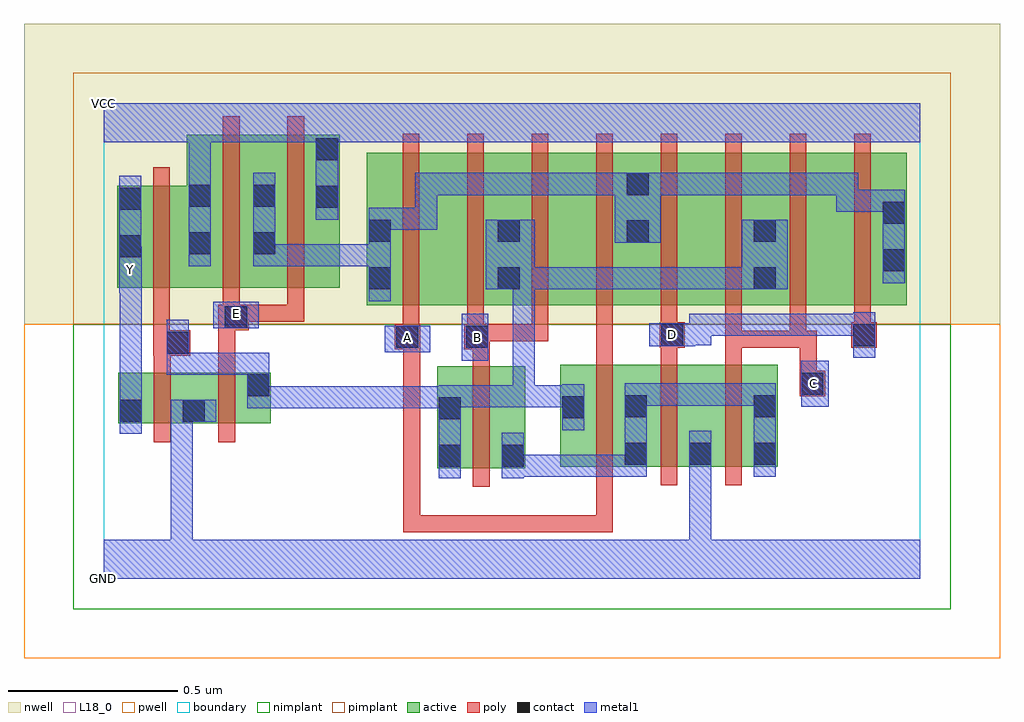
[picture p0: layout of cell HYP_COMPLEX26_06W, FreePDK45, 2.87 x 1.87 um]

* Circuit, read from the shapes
.subckt HYP_COMPLEX26_06W A B C D E GND VCC Y
M1 GND n1 Y VSUBS nfet w=0.15u l=0.05u
M2 n1 E GND VSUBS nfet w=0.15u l=0.05u
M3 n2 B n1 VSUBS nfet w=0.3u l=0.05u
M4 n2 A n1 VSUBS nfet w=0.3u l=0.05u
M5 GND D n2 VSUBS nfet w=0.3u l=0.05u
M6 n2 C GND VSUBS nfet w=0.3u l=0.05u
M7 VCC n1 Y n3 pfet w=0.3u l=0.05u
M8 n4 E VCC n3 pfet w=0.45u l=0.05u m=2
M9 n5 A n4 n3 pfet w=0.45u l=0.05u
M10 n1 B n5 n3 pfet w=0.45u l=0.05u
M11 n6 B n1 n3 pfet w=0.45u l=0.05u
M12 n4 A n6 n3 pfet w=0.45u l=0.05u
M13 n7 D n4 n3 pfet w=0.45u l=0.05u
M14 n1 C n7 n3 pfet w=0.45u l=0.05u
M15 n8 C n1 n3 pfet w=0.45u l=0.05u
M16 n4 D n8 n3 pfet w=0.45u l=0.05u
.ends

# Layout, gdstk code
import gdstk
lib = gdstk.Library(unit=1e-6, precision=1e-09)
def R(c, l, rs):  # rectangles x0, y0, x1, y1
    for r in rs: c.add(gdstk.rectangle(r[:2], r[2:], *l))
def A(c, l, x, y, w, h, nx, ny, dx, dy):  # array of equal rectangles
    R(c, l, [(x+i*dx, y+j*dy, x+i*dx+w, y+j*dy+h) for i in range(nx) for j in range(ny)])
active = (1, 0)
pwell = (2, 0)
nwell = (3, 0)
nimplant = (4, 0)
pimplant = (5, 0)
poly = (9, 0)
contact = (10, 0)
metal1 = (11, 0)
L18_0 = (18, 0)
boundary = (235, 0)

hyp_complex26_06w = lib.new_cell('HYP_COMPLEX26_06W')
A(hyp_complex26_06w, active, 0.775, 0.805, 0.225, 0.45, 3, 1, 0.38, 0)
R(hyp_complex26_06w, active, [(0.982,0.325,1.057,0.625), (0.982,0.325,1.242,0.625), (1.167,0.325,1.242,0.625), (1.345,0.33,1.605,0.63), (1.53,0.33,1.795,0.63), (1.53,0.33,1.605,0.545), (1.72,0.33,1.985,0.63), (1.72,0.33,1.795,0.547), (1.91,0.33,1.985,0.63), (1.345,0.395,1.42,0.63), (0.042,0.457,0.117,0.607), (0.042,0.457,0.302,0.607), (0.227,0.457,0.492,0.607), (0.227,0.457,0.302,0.547), (0.417,0.457,0.492,0.607), (0.775,0.805,0.88,1.2), (1,0.805,1.23,1.255), (1.155,0.805,1.23,1.07), (1.38,0.805,1.61,1.255), (1.535,0.805,1.61,1.2), (1.76,0.805,1.985,1.255), (1.91,0.805,2.14,1.255), (1.91,0.805,1.985,1.07), (2.14,0.805,2.365,1.255), (2.29,0.805,2.365,1.2), (0.04,0.857,0.115,1.157), (0.04,0.857,0.32,1.157), (0.245,0.857,0.32,1.307), (0.245,0.857,0.51,1.307), (0.435,0.857,0.695,1.307), (0.435,0.857,0.51,1.2), (0.62,0.857,0.695,1.307)])
R(hyp_complex26_06w, pwell, [(-0.235,-0.235,2.64,0.75)])
R(hyp_complex26_06w, nwell, [(-0.235,0.75,2.64,1.635)])
R(hyp_complex26_06w, nimplant, [(-0.09,-0.09,2.495,0.75)])
R(hyp_complex26_06w, pimplant, [(-0.09,0.75,2.495,1.49)])
A(hyp_complex26_06w, poly, 1.45, 0.275, 0.05, 0.41, 3, 1, 0.19, 0)
A(hyp_complex26_06w, poly, 0.88, 0.7, 0.05, 0.1, 3, 1, 0.19, 0)
A(hyp_complex26_06w, poly, 0.88, 0.75, 0.05, 0.56, 8, 1, 0.19, 0)
R(hyp_complex26_06w, poly, [(0.882,0.137,0.932,0.187), (0.882,0.137,0.932,0.187), (0.882,0.137,0.932,0.187), (0.882,0.137,0.932,0.187), (0.882,0.137,0.932,0.187), (0.882,0.137,0.932,0.187), (0.882,0.137,0.932,0.187), (0.882,0.137,1.177,0.187), (0.882,0.137,0.932,0.725), (1.127,0.137,1.177,0.187), (1.127,0.137,1.177,0.187), (1.127,0.137,1.177,0.187), (1.127,0.137,1.31,0.187), (1.26,0.137,1.31,0.187), (1.26,0.137,1.31,0.187), (1.26,0.137,1.31,0.187), (1.26,0.137,1.5,0.187), (1.45,0.137,1.5,0.187), (1.45,0.137,1.5,0.187), (1.45,0.137,1.5,0.187), (1.45,0.137,1.5,0.325), (1.087,0.27,1.137,0.68), (0.147,0.402,0.197,0.662), (0.337,0.402,0.387,0.662), (2.05,0.537,2.125,0.612), (2.05,0.562,2.1,0.73), (0.147,0.612,0.197,0.707), (0.337,0.612,0.387,0.782), (1.087,0.63,1.137,0.725), (1.45,0.635,1.5,0.755), (1.64,0.635,1.69,0.73), (1.83,0.635,1.88,0.73), (0.145,0.657,0.255,0.732), (0.857,0.675,0.932,0.75), (1.062,0.675,1.137,0.75), (1.637,0.68,1.712,0.755), (1.83,0.68,1.88,0.8), (1.83,0.68,1.88,0.73), (1.83,0.68,2.07,0.73), (2.02,0.68,2.07,0.8), (2.02,0.68,2.07,0.73), (2.02,0.68,2.07,0.73), (2.02,0.68,2.07,0.73), (2.02,0.68,2.07,0.73), (2.02,0.68,2.1,0.73), (2.202,0.68,2.277,0.755), (0.145,0.682,0.195,0.852), (1.087,0.7,1.31,0.75), (1.26,0.7,1.31,0.75), (1.26,0.7,1.31,0.75), (1.26,0.7,1.31,0.75), (1.45,0.705,1.5,0.8), (1.45,0.705,1.5,0.755), (1.64,0.705,1.69,0.8), (2.21,0.705,2.26,0.8), (0.337,0.732,0.427,0.807), (0.35,0.757,0.4,0.852), (0.377,0.757,0.59,0.807), (0.54,0.757,0.59,0.852), (0.54,0.757,0.59,0.807), (0.54,0.757,0.59,0.807), (0.54,0.757,0.59,0.807), (0.145,0.802,0.195,1.212), (0.35,0.802,0.4,1.362), (0.54,0.802,0.59,1.362)])
A(hyp_complex26_06w, contact, 1.535, 0.335, 0.065, 0.065, 3, 1, 0.19, 0)
R(hyp_complex26_06w, contact, [(0.987,0.33,1.052,0.395), (1.172,0.33,1.237,0.395), (0.047,0.462,0.112,0.527), (0.232,0.462,0.297,0.527), (0.987,0.47,1.052,0.535), (1.35,0.472,1.415,0.537), (1.535,0.475,1.6,0.54), (1.915,0.475,1.98,0.54), (0.422,0.537,0.487,0.602), (2.055,0.542,2.12,0.607), (0.185,0.662,0.25,0.727), (0.862,0.68,0.927,0.745), (1.067,0.68,1.132,0.745), (1.642,0.685,1.707,0.75), (2.207,0.685,2.272,0.75), (0.357,0.737,0.422,0.802), (0.78,0.852,0.845,0.917), (1.16,0.852,1.225,0.917), (1.915,0.852,1.98,0.917), (2.295,0.905,2.36,0.97), (0.045,0.947,0.11,1.012), (0.25,0.955,0.315,1.02), (0.44,0.955,0.505,1.02), (1.54,0.99,1.605,1.055), (0.78,0.992,0.845,1.057), (1.16,0.992,1.225,1.057), (1.915,0.992,1.98,1.057), (2.295,1.045,2.36,1.11), (0.045,1.087,0.11,1.152), (0.625,1.092,0.69,1.157), (0.25,1.095,0.315,1.16), (0.44,1.095,0.505,1.16), (1.54,1.13,1.605,1.195), (0.625,1.232,0.69,1.297)])
A(hyp_complex26_06w, metal1, 1.535, 0.51, 0.065, 0.065, 3, 1, 0.19, 0)
R(hyp_complex26_06w, metal1, [(0,0,2.405,0.115), (0.197,0.05,0.262,0.115), (0.197,0.05,0.262,0.115), (0.197,0.05,0.262,0.527), (1.725,0.05,1.79,0.115), (1.725,0.05,1.79,0.115), (1.725,0.05,1.79,0.365), (0.987,0.295,1.052,0.57), (1.172,0.295,1.237,0.43), (1.172,0.3,1.272,0.365), (1.207,0.3,1.272,0.365), (1.207,0.3,1.41,0.365), (1.345,0.3,1.41,0.365), (1.345,0.3,1.41,0.365), (1.345,0.3,1.41,0.365), (1.345,0.3,1.6,0.365), (1.535,0.3,1.6,0.575), (1.725,0.3,1.79,0.365), (1.725,0.3,1.79,0.365), (1.725,0.3,1.79,0.435), (1.915,0.3,1.98,0.575), (0.047,0.427,0.112,0.562), (1.35,0.437,1.415,0.572), (0.197,0.462,0.262,0.527), (0.197,0.462,0.262,0.527), (0.197,0.462,0.262,0.527), (0.197,0.462,0.262,0.527), (0.197,0.462,0.332,0.527), (0.047,0.497,0.112,0.907), (0.422,0.502,0.642,0.567), (0.422,0.502,0.487,0.637), (0.577,0.502,0.642,0.567), (0.577,0.502,0.642,0.567), (0.577,0.502,0.642,0.567), (0.577,0.502,0.845,0.567), (0.78,0.502,0.845,0.567), (0.78,0.502,0.845,0.567), (0.78,0.502,0.845,0.567), (0.78,0.502,1.052,0.567), (0.987,0.505,1.052,0.57), (0.987,0.505,1.052,0.57), (0.987,0.505,1.27,0.57), (1.205,0.505,1.27,0.57), (1.205,0.505,1.27,0.57), (1.205,0.505,1.27,0.57), (1.205,0.505,1.415,0.57), (1.205,0.505,1.27,0.917), (2.055,0.507,2.135,0.642), (1.535,0.51,1.6,0.575), (1.535,0.51,1.6,0.575), (1.535,0.51,1.6,0.575), (1.535,0.51,1.79,0.575), (1.725,0.51,1.98,0.575), (1.915,0.51,1.98,0.575), (0.422,0.572,0.487,0.637), (0.422,0.572,0.487,0.665), (0.185,0.6,0.25,0.665), (0.185,0.6,0.487,0.665), (0.185,0.6,0.25,0.692), (0.185,0.627,0.25,0.692), (0.185,0.627,0.25,0.692), (0.185,0.627,0.25,0.762), (1.055,0.642,1.132,0.78), (2.207,0.65,2.272,0.785), (0.827,0.667,0.962,0.745), (1.607,0.685,1.742,0.752), (1.677,0.687,1.79,0.752), (1.725,0.687,1.79,0.78), (1.725,0.715,1.927,0.78), (1.862,0.715,1.927,0.78), (1.862,0.715,1.927,0.78), (1.862,0.715,1.927,0.78), (1.862,0.715,2.117,0.78), (2.052,0.715,2.117,0.78), (2.052,0.715,2.117,0.78), (2.052,0.715,2.117,0.78), (2.052,0.715,2.272,0.78), (0.322,0.737,0.457,0.815), (0.78,0.817,0.845,1.092), (0.045,0.842,0.112,0.977), (1.125,0.852,1.27,1.057), (1.205,0.852,1.27,0.917), (1.205,0.852,1.27,0.917), (1.205,0.852,1.27,0.917), (1.205,0.852,1.27,0.917), (1.205,0.852,1.41,0.917), (1.345,0.852,1.41,0.917), (1.345,0.852,1.41,0.917), (1.345,0.852,1.41,0.917), (1.345,0.852,1.652,0.917), (1.587,0.852,1.652,0.917), (1.587,0.852,1.652,0.917), (1.587,0.852,1.652,0.917), (1.587,0.852,1.79,0.917), (1.725,0.852,1.79,0.917), (1.725,0.852,1.945,0.917), (1.88,0.852,1.945,0.917), (1.88,0.852,1.945,0.917), (1.88,0.852,2.015,1.057), (2.295,0.87,2.36,1.145), (0.045,0.912,0.11,0.977), (0.045,0.912,0.11,1.187), (0.25,0.92,0.315,1.195), (0.44,0.92,0.505,1.195), (0.44,0.92,0.707,0.985), (0.642,0.92,0.707,0.985), (0.642,0.92,0.707,0.985), (0.642,0.92,0.707,0.985), (0.642,0.92,0.845,0.985), (1.505,0.99,1.64,1.195), (0.78,1.027,0.845,1.092), (0.78,1.027,0.845,1.092), (0.78,1.027,0.982,1.092), (0.917,1.027,0.982,1.092), (0.917,1.027,0.982,1.195), (0.625,1.057,0.69,1.332), (2.157,1.08,2.222,1.145), (2.157,1.08,2.36,1.145), (2.157,1.08,2.222,1.195), (2.295,1.08,2.36,1.145), (2.295,1.08,2.36,1.145), (0.25,1.13,0.315,1.35), (0.917,1.13,0.982,1.195), (0.917,1.13,0.982,1.195), (0.917,1.13,0.982,1.195), (0.917,1.13,1.27,1.195), (1.205,1.13,1.27,1.195), (1.205,1.13,1.27,1.195), (1.205,1.13,1.27,1.195), (1.205,1.13,1.41,1.195), (1.345,1.13,1.41,1.195), (1.345,1.13,1.41,1.195), (1.345,1.13,1.41,1.195), (1.345,1.13,1.57,1.195), (1.575,1.13,1.64,1.195), (1.575,1.13,1.64,1.195), (1.575,1.13,1.79,1.195), (1.725,1.13,1.79,1.195), (1.725,1.13,1.927,1.195), (1.862,1.13,1.927,1.195), (1.862,1.13,1.927,1.195), (1.862,1.13,1.927,1.195), (1.862,1.13,2.117,1.195), (2.052,1.13,2.117,1.195), (2.052,1.13,2.222,1.195), (2.157,1.13,2.222,1.195), (0.625,1.267,0.69,1.35), (0,1.285,2.405,1.4)])
R(hyp_complex26_06w, L18_0, [(0,0,2.405,0.115), (0.197,0.05,0.262,0.115), (0.197,0.05,0.262,0.115), (0.197,0.05,0.262,0.527), (1.725,0.05,1.79,0.115), (1.725,0.05,1.79,0.115), (1.725,0.05,1.79,0.365), (1.725,0.3,1.79,0.435), (1.725,0.3,1.79,0.365), (1.725,0.3,1.79,0.365), (0.047,0.427,0.112,0.562), (0.197,0.462,0.262,0.527), (0.197,0.462,0.262,0.527), (0.197,0.462,0.262,0.527), (0.197,0.462,0.262,0.527), (0.197,0.462,0.332,0.527), (0.047,0.497,0.112,0.907), (2.055,0.507,2.135,0.642), (2.057,0.542,2.122,0.607), (1.055,0.642,1.132,0.78), (2.207,0.65,2.272,0.785), (0.827,0.667,0.962,0.745), (0.862,0.677,0.927,0.742), (1.067,0.677,1.132,0.742), (1.607,0.685,1.742,0.752), (1.642,0.687,1.707,0.752), (1.677,0.687,1.79,0.752), (1.725,0.687,1.79,0.78), (1.725,0.715,1.927,0.78), (1.862,0.715,1.927,0.78), (1.862,0.715,1.927,0.78), (1.862,0.715,1.927,0.78), (1.862,0.715,2.117,0.78), (2.052,0.715,2.117,0.78), (2.052,0.715,2.117,0.78), (2.052,0.715,2.117,0.78), (2.052,0.715,2.272,0.78), (0.322,0.737,0.457,0.815), (0.357,0.747,0.422,0.812), (0.045,0.842,0.112,0.977), (0.047,0.877,0.112,0.942), (0.045,0.912,0.11,1.187), (0.045,0.912,0.11,0.977), (0.25,0.92,0.315,1.195), (0.625,1.057,0.69,1.332), (0.25,1.13,0.315,1.35), (0.625,1.267,0.69,1.35), (0,1.285,2.405,1.4)])
R(hyp_complex26_06w, boundary, [(0,0,2.405,1.4)])
hyp_complex26_06w.add(gdstk.Label('A', (0.895,0.71), layer=11, texttype=0))
hyp_complex26_06w.add(gdstk.Label('B', (1.1,0.71), layer=11, texttype=0))
hyp_complex26_06w.add(gdstk.Label('C', (2.09,0.575), layer=11, texttype=0))
hyp_complex26_06w.add(gdstk.Label('D', (1.675,0.72), layer=11, texttype=0))
hyp_complex26_06w.add(gdstk.Label('E', (0.39,0.78), layer=11, texttype=0))
hyp_complex26_06w.add(gdstk.Label('Y', (0.08,0.91), layer=11, texttype=0))
hyp_complex26_06w.add(gdstk.Label('VCC', (0,1.4), layer=11, texttype=0))
hyp_complex26_06w.add(gdstk.Label('GND', (0,0), layer=11, texttype=0))

lib.write_gds('HYP_COMPLEX26_06W.gds')
